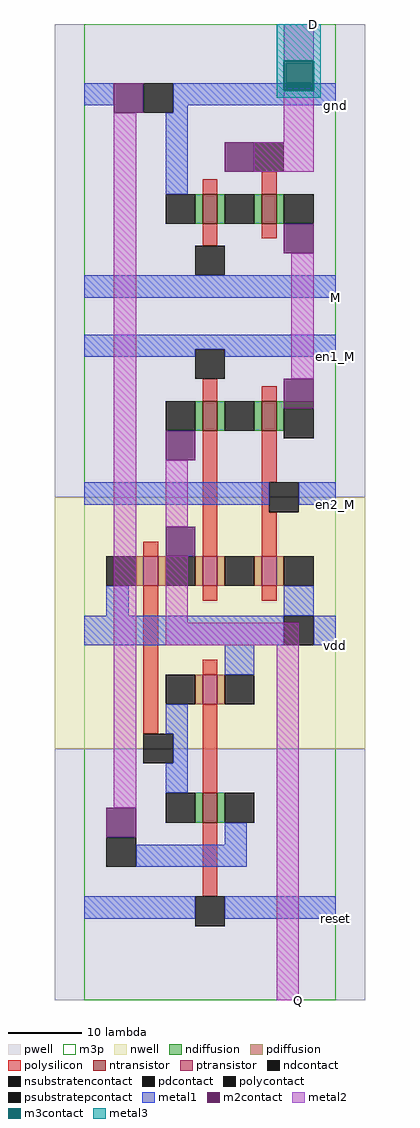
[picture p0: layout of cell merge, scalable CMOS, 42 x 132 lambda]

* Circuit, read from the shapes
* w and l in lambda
.subckt merge D M Q en1_M en2_M gnd reset vdd
M1 gnd reset n1 gnd nfet w=4 l=2
M2 n2 en1_M Q gnd nfet w=4 l=2
M3 n3 M gnd gnd nfet w=4 l=2
M4 n4 en2_M n2 gnd nfet w=4 l=2
M5 n4 D n3 gnd nfet w=4 l=2
M6 Q n1 vdd vdd pfet w=4 l=2
M7 vdd reset n1 vdd pfet w=4 l=2
M8 n5 en1_M Q vdd pfet w=4 l=2
M9 vdd en2_M n5 vdd pfet w=4 l=2
.ends

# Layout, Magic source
magic
tech scmos
<< nwell >>
rect -4 34 38 68
<< pwell >>
rect -4 68 38 132
rect -4 0 38 34
<< ntransistor >>
rect 16 105 18 109
rect 24 105 26 109
rect 16 77 18 81
rect 24 77 26 81
rect 16 24 18 28
<< ptransistor >>
rect 8 56 10 60
rect 16 56 18 60
rect 24 56 26 60
rect 16 40 18 44
<< ndiffusion >>
rect 15 105 16 109
rect 18 105 19 109
rect 23 105 24 109
rect 26 105 27 109
rect 15 77 16 81
rect 18 77 19 81
rect 23 77 24 81
rect 26 80 31 81
rect 26 77 27 80
rect 15 24 16 28
rect 18 24 19 28
<< pdiffusion >>
rect 7 56 8 60
rect 10 56 11 60
rect 15 56 16 60
rect 18 56 19 60
rect 23 56 24 60
rect 26 56 27 60
rect 15 40 16 44
rect 18 40 19 44
<< ndcontact >>
rect 11 105 15 109
rect 19 105 23 109
rect 27 105 31 109
rect 11 77 15 81
rect 19 77 23 81
rect 27 76 31 80
rect 11 24 15 28
rect 19 24 23 28
<< pdcontact >>
rect 3 56 7 60
rect 11 56 15 60
rect 19 56 23 60
rect 27 56 31 60
rect 11 40 15 44
rect 19 40 23 44
<< psubstratepcontact >>
rect 8 120 12 124
rect 3 18 7 22
<< nsubstratencontact >>
rect 27 48 31 52
<< polysilicon >>
rect 16 109 18 111
rect 24 109 26 112
rect 16 102 18 105
rect 24 103 26 105
rect 16 81 18 84
rect 24 81 26 83
rect 8 60 10 62
rect 16 60 18 77
rect 24 70 26 77
rect 24 66 25 70
rect 24 60 26 66
rect 8 36 10 56
rect 16 54 18 56
rect 24 54 26 56
rect 16 44 18 46
rect 16 28 18 40
rect 16 14 18 24
<< polycontact >>
rect 23 112 27 116
rect 15 98 19 102
rect 15 84 19 88
rect 25 66 29 70
rect 8 32 12 36
rect 15 10 19 14
<< metal1 >>
rect 0 121 4 124
rect 12 121 34 124
rect 12 120 14 121
rect 11 109 14 120
rect 0 95 34 98
rect 0 88 34 90
rect 0 87 15 88
rect 19 87 34 88
rect 0 67 25 70
rect 29 67 34 70
rect 3 52 6 56
rect 27 52 31 56
rect 0 48 27 52
rect 31 48 34 52
rect 19 44 23 48
rect 11 36 14 40
rect 12 32 14 36
rect 11 28 14 32
rect 19 21 22 24
rect 7 18 22 21
rect 0 11 15 14
rect 19 11 34 14
<< m2contact >>
rect 4 120 8 124
rect 19 112 23 116
rect 27 101 31 105
rect 27 80 31 84
rect 11 73 15 77
rect 11 60 15 64
rect 3 22 7 26
<< metal2 >>
rect 27 127 31 132
rect 4 26 7 120
rect 27 116 31 123
rect 23 112 31 116
rect 28 84 31 101
rect 11 64 14 73
rect 11 51 14 60
rect 11 48 29 51
rect 26 0 29 48
<< m3contact >>
rect 27 123 31 127
<< metal3 >>
rect 26 127 32 132
rect 26 123 27 127
rect 31 123 32 127
rect 26 122 32 123
<< m3p >>
rect 0 0 34 132
<< labels >>
rlabel metal1 34 11 34 11 8 reset
rlabel metal2 29 0 29 0 1 Q
rlabel metal1 34 67 34 67 7 en2_M
rlabel metal1 34 95 34 95 7 M
rlabel metal1 34 121 34 121 5 gnd
rlabel metal1 34 48 34 48 5 vdd
rlabel metal1 34 87 34 87 7 en1_M
rlabel metal2 31 132 31 132 5 D
<< end >>
